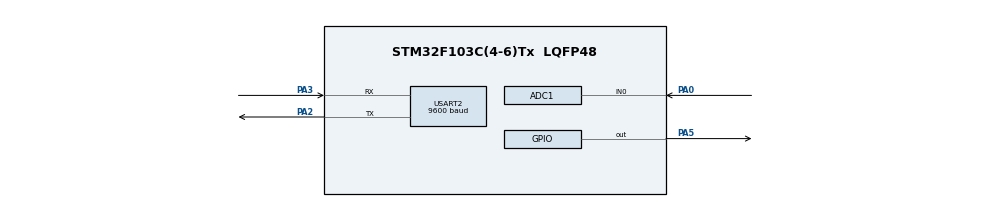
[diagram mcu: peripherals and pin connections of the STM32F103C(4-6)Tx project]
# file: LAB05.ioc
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ADC1.Channel-0\#ChannelRegularConversion=ADC_CHANNEL_0
ADC1.ContinuousConvMode=DISABLE
ADC1.NbrOfConversionFlag=1
ADC1.Rank-0\#ChannelRegularConversion=1
ADC1.SamplingTime-0\#ChannelRegularConversion=ADC_SAMPLETIME_55CYCLES_5
ADC1.master=1
Mcu.Family=STM32F1
Mcu.Name=STM32F103C(4-6)Tx
Mcu.Package=LQFP48
NVIC.PriorityGroup=NVIC_PRIORITYGROUP_4
NVIC.USART2_IRQn=true\:0\:0\:false\:false\:true\:true\:true\:true
PA0-WKUP.Signal=ADCx_IN0
PA2.Mode=Asynchronous
PA2.Signal=USART2_TX
PA3.Mode=Asynchronous
PA3.Signal=USART2_RX
PA5.Signal=GPIO_Output
ProjectManager.HeapSize=0x200
ProjectManager.StackSize=0x400
ProjectManager.TargetToolchain=STM32CubeIDE
RCC.APB1Freq_Value=8000000
RCC.APB2Freq_Value=8000000
SH.ADCx_IN0.0=ADC1_IN0,IN0
USART2.BaudRate=9600
USART2.VirtualMode=VM_ASYNC
VP_SYS_VS_ND.Mode=No_Debug
board=custom

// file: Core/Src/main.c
/* USER CODE BEGIN Header */
/**
  ******************************************************************************
  * @file           : main.c
  * @brief          : Main program body
  ******************************************************************************
  * @attention
  *
  * Copyright (c) 2026 STMicroelectronics.
  * All rights reserved.
  *
  * This software is licensed under terms that can be found in the LICENSE file
  * in the root directory of this software component.
  * If no LICENSE file comes with this software, it is provided AS-IS.
  *
  ******************************************************************************
  */
/* USER CODE END Header */
#include "main.h"

/* USER CODE BEGIN Includes */
#include "command_parser.h"
#include "uart_protocol.h"
#include <stdbool.h>
#include <stdio.h>

/* USER CODE END Includes */

/* USER CODE BEGIN PD */
#define LAB5_MODE_LOOPBACK 1
#define LAB5_MODE_ADC      2
#define LAB5_MODE_PROTOCOL 3

#ifndef LAB5_MODE
#define LAB5_MODE LAB5_MODE_PROTOCOL
#endif

#if LAB5_MODE != LAB5_MODE_LOOPBACK && LAB5_MODE != LAB5_MODE_ADC && LAB5_MODE != LAB5_MODE_PROTOCOL
#error "Select a valid Lab 5 mode"
#endif

#define RX_BUFFER_SIZE 64U
#define DEMO_PERIOD_MS 500U

/* Set to 0 after checking both UART directions in Proteus. */
#define LAB5_UART_TRACE 1

/* USER CODE END PD */

ADC_HandleTypeDef hadc1;

UART_HandleTypeDef huart2;

/* USER CODE BEGIN PV */
static uint8_t rx_byte;
static volatile uint8_t rx_buffer[RX_BUFFER_SIZE];
static volatile uint8_t rx_head;
static volatile uint8_t rx_tail;
static volatile bool rx_lost;

/* USER CODE END PV */

void SystemClock_Config(void);
static void MX_GPIO_Init(void);
static void MX_ADC1_Init(void);
static void MX_USART2_UART_Init(void);

/* USER CODE BEGIN 0 */
static bool uart_pop_byte(uint8_t *byte)
{
  uint32_t interrupt_mask = __get_PRIMASK();
  bool available = false;

  __disable_irq();
  if (rx_lost)
  {
    /* A missing byte invalidates any partial command. */
    rx_tail = rx_head;
    rx_lost = false;
    CommandParser_Reset();
  }
  else if (rx_tail != rx_head)
  {
    *byte = rx_buffer[rx_tail];
    rx_tail = (rx_tail + 1U) % RX_BUFFER_SIZE;
    available = true;
  }
  __set_PRIMASK(interrupt_mask);

  return available;
}

void HAL_UART_RxCpltCallback(UART_HandleTypeDef *uart)
{
  if (uart->Instance != USART2 || uart->ErrorCode != HAL_UART_ERROR_NONE)
  {
    return;
  }

  uint8_t next = (rx_head + 1U) % RX_BUFFER_SIZE;
  if (next == rx_tail)
  {
    rx_lost = true;
  }
  else if (!rx_lost)
  {
    rx_buffer[rx_head] = rx_byte;
    rx_head = next;
  }

  HAL_UART_Receive_IT(uart, &rx_byte, 1U);
}

void HAL_UART_ErrorCallback(UART_HandleTypeDef *uart)
{
  if (uart->Instance == USART2)
  {
    rx_lost = true;
    if (uart->RxState == HAL_UART_STATE_READY)
    {
      HAL_UART_Receive_IT(uart, &rx_byte, 1U);
    }
  }
}

/* USER CODE END 0 */

int main(void)
{

  /* MCU Configuration--------------------------------------------------------*/

  /* Reset of all peripherals, Initializes the Flash interface and the Systick. */
  HAL_Init();

  /* Configure the system clock */
  SystemClock_Config();

  /* Initialize all configured peripherals */
  MX_GPIO_Init();
  MX_ADC1_Init();
  MX_USART2_UART_Init();
  /* USER CODE BEGIN 2 */
  HAL_GPIO_WritePin(GPIOA, GPIO_PIN_5, GPIO_PIN_SET);
  if (LAB5_MODE != LAB5_MODE_ADC && HAL_UART_Receive_IT(&huart2, &rx_byte, 1U) != HAL_OK)
  {
    Error_Handler();
  }
  uint32_t last_demo_tick = HAL_GetTick();
  if (LAB5_MODE == LAB5_MODE_PROTOCOL && LAB5_UART_TRACE)
  {
    static const uint8_t ready_message[] = "LAB05 READY\r\n";
    HAL_UART_Transmit(&huart2, (uint8_t *)ready_message,
                      sizeof(ready_message) - 1U, 50U);
  }

  /* USER CODE END 2 */

  /* Infinite loop */
  while (1)
  {

    /* USER CODE BEGIN 3 */
    uint32_t now = HAL_GetTick();
    if (now - last_demo_tick >= DEMO_PERIOD_MS)
    {
      last_demo_tick = now;
      HAL_GPIO_TogglePin(GPIOA, GPIO_PIN_5);
      if (LAB5_MODE == LAB5_MODE_ADC)
      {
        if (HAL_ADC_Start(&hadc1) == HAL_OK)
        {
          if (HAL_ADC_PollForConversion(&hadc1, 10U) == HAL_OK)
          {
            char line[16];
            int length = snprintf(line, sizeof(line), "%lu\r\n",
                                  (unsigned long)HAL_ADC_GetValue(&hadc1));
            HAL_UART_Transmit(&huart2, (uint8_t *)line, (uint16_t)length, 50U);
          }
          HAL_ADC_Stop(&hadc1);
        }
      }
    }

    if (LAB5_MODE == LAB5_MODE_LOOPBACK || LAB5_MODE == LAB5_MODE_PROTOCOL)
    {
      uint8_t byte;
      Lab5Command command = LAB5_CMD_NONE;
      if (uart_pop_byte(&byte))
      {
        if (LAB5_MODE == LAB5_MODE_LOOPBACK)
        {
          HAL_UART_Transmit(&huart2, &byte, 1U, 50U);
          if (byte == '#')
          {
            HAL_UART_Transmit(&huart2, (uint8_t *)"\r\n", 2U, 50U);
          }
        }
        else
        {
          if (LAB5_UART_TRACE)
          {
            HAL_UART_Transmit(&huart2, &byte, 1U, 50U);
            if (byte == '#')
            {
              HAL_UART_Transmit(&huart2, (uint8_t *)"\r\n", 2U, 50U);
            }
          }
          command = CommandParser_Push(byte);
        }
      }
      if (LAB5_MODE == LAB5_MODE_PROTOCOL)
      {
        UartProtocol_Run(&huart2, &hadc1, command);
      }
    }
  }
  /* USER CODE END 3 */
}

void SystemClock_Config(void)
{
  RCC_OscInitTypeDef RCC_OscInitStruct = {0};
  RCC_ClkInitTypeDef RCC_ClkInitStruct = {0};
  RCC_PeriphCLKInitTypeDef PeriphClkInit = {0};

  /** Initializes the RCC Oscillators according to the specified parameters
  * in the RCC_OscInitTypeDef structure.
  */
  RCC_OscInitStruct.OscillatorType = RCC_OSCILLATORTYPE_HSI;
  RCC_OscInitStruct.HSIState = RCC_HSI_ON;
  RCC_OscInitStruct.HSICalibrationValue = RCC_HSICALIBRATION_DEFAULT;
  RCC_OscInitStruct.PLL.PLLState = RCC_PLL_NONE;
  if (HAL_RCC_OscConfig(&RCC_OscInitStruct) != HAL_OK)
  {
    Error_Handler();
  }

  /** Initializes the CPU, AHB and APB buses clocks
  */
  RCC_ClkInitStruct.ClockType = RCC_CLOCKTYPE_HCLK|RCC_CLOCKTYPE_SYSCLK
                              |RCC_CLOCKTYPE_PCLK1|RCC_CLOCKTYPE_PCLK2;
  RCC_ClkInitStruct.SYSCLKSource = RCC_SYSCLKSOURCE_HSI;
  RCC_ClkInitStruct.AHBCLKDivider = RCC_SYSCLK_DIV1;
  RCC_ClkInitStruct.APB1CLKDivider = RCC_HCLK_DIV1;
  RCC_ClkInitStruct.APB2CLKDivider = RCC_HCLK_DIV1;

  if (HAL_RCC_ClockConfig(&RCC_ClkInitStruct, FLASH_LATENCY_0) != HAL_OK)
  {
    Error_Handler();
  }
  PeriphClkInit.PeriphClockSelection = RCC_PERIPHCLK_ADC;
  PeriphClkInit.AdcClockSelection = RCC_ADCPCLK2_DIV2;
  if (HAL_RCCEx_PeriphCLKConfig(&PeriphClkInit) != HAL_OK)
  {
    Error_Handler();
  }
}

static void MX_ADC1_Init(void)
{

  ADC_ChannelConfTypeDef sConfig = {0};

  /** Common config
  */
  hadc1.Instance = ADC1;
  hadc1.Init.ScanConvMode = ADC_SCAN_DISABLE;
  hadc1.Init.ContinuousConvMode = DISABLE;
  hadc1.Init.DiscontinuousConvMode = DISABLE;
  hadc1.Init.ExternalTrigConv = ADC_SOFTWARE_START;
  hadc1.Init.DataAlign = ADC_DATAALIGN_RIGHT;
  hadc1.Init.NbrOfConversion = 1;
  if (HAL_ADC_Init(&hadc1) != HAL_OK)
  {
    Error_Handler();
  }

  /** Configure Regular Channel
  */
  sConfig.Channel = ADC_CHANNEL_0;
  sConfig.Rank = ADC_REGULAR_RANK_1;
  sConfig.SamplingTime = ADC_SAMPLETIME_55CYCLES_5;
  if (HAL_ADC_ConfigChannel(&hadc1, &sConfig) != HAL_OK)
  {
    Error_Handler();
  }

}

static void MX_USART2_UART_Init(void)
{

  huart2.Instance = USART2;
  huart2.Init.BaudRate = 9600;
  huart2.Init.WordLength = UART_WORDLENGTH_8B;
  huart2.Init.StopBits = UART_STOPBITS_1;
  huart2.Init.Parity = UART_PARITY_NONE;
  huart2.Init.Mode = UART_MODE_TX_RX;
  huart2.Init.HwFlowCtl = UART_HWCONTROL_NONE;
  huart2.Init.OverSampling = UART_OVERSAMPLING_16;
  if (HAL_UART_Init(&huart2) != HAL_OK)
  {
    Error_Handler();
  }

}

static void MX_GPIO_Init(void)
{
  GPIO_InitTypeDef GPIO_InitStruct = {0};

  /* GPIO Ports Clock Enable */
  __HAL_RCC_GPIOA_CLK_ENABLE();

  /*Configure GPIO pin Output Level */
  HAL_GPIO_WritePin(GPIOA, GPIO_PIN_5, GPIO_PIN_RESET);

  /*Configure GPIO pin : PA5 */
  GPIO_InitStruct.Pin = GPIO_PIN_5;
  GPIO_InitStruct.Mode = GPIO_MODE_OUTPUT_PP;
  GPIO_InitStruct.Pull = GPIO_NOPULL;
  GPIO_InitStruct.Speed = GPIO_SPEED_FREQ_LOW;
  HAL_GPIO_Init(GPIOA, &GPIO_InitStruct);

}

void Error_Handler(void)
{
  __disable_irq();
  while (1)
  {
  }
}
